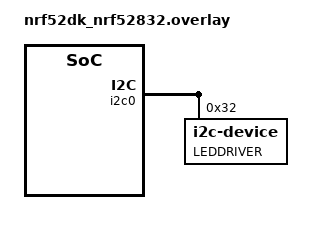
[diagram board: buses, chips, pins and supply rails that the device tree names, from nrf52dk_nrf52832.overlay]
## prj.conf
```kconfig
#
# Copyright (c) 2021 Nordic Semiconductor ASA
#
# SPDX-License-Identifier: LicenseRef-Nordic-5-Clause
#

CONFIG_NCS_SAMPLES_DEFAULTS=y

CONFIG_BT=y
CONFIG_BT_PERIPHERAL=y
CONFIG_BT_CENTRAL=y
CONFIG_BT_DEVICE_NAME="SAHA SAO"
CONFIG_BT_DEVICE_APPEARANCE=832
CONFIG_BT_MAX_CONN=2
CONFIG_BT_MAX_PAIRED=2
CONFIG_BT_EXT_ADV=y # if this is no then the whole thing explodes

#CONFIG_BT_SMP=y # testing

CONFIG_BT_SCAN=y
CONFIG_BT_SCAN_FILTER_ENABLE=y
CONFIG_BT_SCAN_UUID_CNT=1

#CONFIG_BT_GATT_CLIENT=y # testing
#CONFIG_BT_GATT_DM=y # testing

#CONFIG_BT_HRS=y # testing
#CONFIG_BT_HRS_CLIENT=y # testing

CONFIG_BT_SETTINGS=y
CONFIG_FLASH=y
CONFIG_FLASH_PAGE_LAYOUT=y
CONFIG_FLASH_MAP=y
CONFIG_SETTINGS=y

CONFIG_HEAP_MEM_POOL_SIZE=1024

CONFIG_DK_LIBRARY=n # NEW, trying to cut down on size, FAILED dk_leds_init is faulting this
CONFIG_I2C=y
CONFIG_CLOCK_CONTROL_NRF_K32SRC_RC=y # NEW
CONFIG_SERIAL=n # Power consumption reduction, super users can turn this on for printf debugging / comms out the SAO header. Turning this off saves about 1 ma
#CONFIG_LOG=n # Trying more
```

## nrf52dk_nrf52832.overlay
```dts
// To get started, press Ctrl+Space to bring up the completion menu and view the available nodes.

// You can also use the buttons in the sidebar to perform actions on nodes.
// Actions currently available include:

// * Enabling / disabling the node
// * Adding the bus to a bus
// * Removing the node
// * Connecting ADC channels

// For more help, browse the DeviceTree documentation at https://docs.zephyrproject.org/latest/guides/dts/index.html
// You can also visit the nRF DeviceTree extension documentation at https://docs.nordicsemi.com/bundle/nrf-connect-vscode/page/guides/ncs_configure_app.html#devicetree-support-in-the-extension

&i2c0 {
    leddriver: leddrive@32{
        compatible = "i2c-device";
        reg = < 0x32 >;
        label = "LEDDRIVER";
    };
};
```

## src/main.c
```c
/*
 * Copyright (c) 2021 Nordic Semiconductor ASA
 *
 * SPDX-License-Identifier: LicenseRef-Nordic-5-Clause
 */

#include <zephyr/bluetooth/bluetooth.h>
#include <zephyr/bluetooth/conn.h>
#include <zephyr/bluetooth/uuid.h>
//#include <zephyr/bluetooth/gatt.h>
//#include <zephyr/bluetooth/hci.h>
//#include <bluetooth/gatt_dm.h>
#include <bluetooth/scan.h>
#include <zephyr/drivers/i2c.h>

#include <zephyr/bluetooth/services/bas.h>

#include <zephyr/settings/settings.h>

#include <zephyr/kernel.h>
#include <stdlib.h>

#include "led_driver.h"

#define STACKSIZE 1024
#define PRIORITY 7

#define RUN_LED_BLINK_INTERVAL 1000

//pled
#define I2C0_NODE DT_NODELABEL(leddriver)
static const struct i2c_dt_spec dev_i2c = I2C_DT_SPEC_GET(I2C0_NODE);

// TIMER
#define TIME_TO_WAIT_MS 5000UL

#define HRS_QUEUE_SIZE 16

static const struct bt_data ad[] = {
	BT_DATA_BYTES(BT_DATA_GAP_APPEARANCE,
		(CONFIG_BT_DEVICE_APPEARANCE >> 0) & 0xff,
		(CONFIG_BT_DEVICE_APPEARANCE >> 8) & 0xff),
	BT_DATA_BYTES(BT_DATA_FLAGS, (BT_LE_AD_GENERAL | BT_LE_AD_NO_BREDR)),
	BT_DATA_BYTES(BT_DATA_UUID16_ALL,
		      BT_UUID_16_ENCODE(BT_UUID_HRS_VAL)), /* Heart Rate Service */
};

static const struct bt_data sd[] = {
	BT_DATA_BYTES(BT_DATA_NAME_COMPLETE, CONFIG_BT_DEVICE_NAME)
};

static struct bt_conn *central_conn;
static struct k_work adv_work;
static struct k_timer my_timer;

static const uint16_t led_program[] =
{
	0x001E,
	0x0002,
	0x0010,
	0x0004,
	0x0008,
	0x0012,
	0x000C,
	0x9C00,
	0x9C86,
	0x16BE,
	0x7E00,
	0x17BE,
	0x7E00,
	0x9D80,
	0xA002
};

//Should reposition the whole led library here, or move it into its own file.
static void pled_write_byte(uint8_t addr, uint8_t data)
{
	uint8_t config[2] = {addr,data};
	int ret = i2c_write_dt(&dev_i2c, config, sizeof(config));
	if(ret != 0){
		printk("Failed to write to I2C device address %x at reg. %x \n\r", dev_i2c.addr,addr);
	}
}

static int8_t calculate_light_cycle(int8_t rssi) 
{
	int8_t level = rssi;
	level = abs(level) / 6;

	if (level > 13) {
		//return 1;
		return 30;
	}
	if (level < 11) {
		//return 5;
		return 190;
	}

	switch (level) {
		case 13:
			//return 2;
			return 70;
		case 12:
			//return 3;
			return 110;
		case 11:
			//return 4;
			return 150;
	}
	// anywhere from -49 to -90
	// I want -59 and up to be 100%, -80 and below 20%
	return -1;
}

static int scan_start(void)
{
	int err = bt_scan_start(BT_SCAN_TYPE_SCAN_PASSIVE);

	if (err) {
		printk("Scanning failed to start (err %d)\n", err);
	}

	return err;
}

static void adv_work_handler(struct k_work *work)
{
	// If you want to change how often the SAO advertises create a custom BT_LE_ADV_PARAM and insert it here
	int err = bt_le_adv_start(BT_LE_ADV_NCONN_IDENTITY, ad, ARRAY_SIZE(ad), sd, ARRAY_SIZE(sd));

	if (err) {
		printk("Advertising failed to start (err %d)\n", err);
		return;
	}

	printk("Advertising successfully started\n");
}

static void advertising_start(void)
{
	k_work_submit(&adv_work);
}

static void scan_filter_match(struct bt_scan_device_info *device_info,
			      struct bt_scan_filter_match *filter_match,
			      bool connectable)
{
	char addr[BT_ADDR_LE_STR_LEN];

	bt_addr_le_to_str(device_info->recv_info->addr, addr, sizeof(addr));

	printk("Filters matched. Address: %s connectable: %d\n",
		   addr, connectable);
	printk("RSSI is %d\n", device_info->recv_info->rssi);
	printk("Calculated power level is %d\n", calculate_light_cycle(device_info->recv_info->rssi));
	pled_write_byte(REG_D1_PWM,calculate_light_cycle(device_info->recv_info->rssi)); // d1 duty cycle
	k_timer_start(&my_timer, K_MSEC(TIME_TO_WAIT_MS), K_FOREVER);
}

static void scan_connecting_error(struct bt_scan_device_info *device_info)
{
	printk("Connecting failed\n");
}

static void scan_connecting(struct bt_scan_device_info *device_info,
			    struct bt_conn *conn)
{
	central_conn = bt_conn_ref(conn);
}

BT_SCAN_CB_INIT(scan_cb, scan_filter_match, NULL,
		scan_connecting_error, scan_connecting);

static void scan_init(void)
{
	int err;

	struct bt_scan_init_param param = {
		.scan_param = NULL, // If you want to change how often the SAO scans create a custom BT_LE_SCAN_PARAM
		.conn_param = BT_LE_CONN_PARAM_DEFAULT,
		.connect_if_match = 0
	};

	bt_scan_init(&param);
	bt_scan_cb_register(&scan_cb);

	err = bt_scan_filter_add(BT_SCAN_FILTER_TYPE_UUID, BT_UUID_HRS);
	if (err) {
		printk("Scanning filters cannot be set (err %d)\n", err);
	}

	err = bt_scan_filter_enable(BT_SCAN_UUID_FILTER, false);
	if (err) {
		printk("Filters cannot be turned on (err %d)\n", err);
	}
}

static void timer_handler(struct k_timer *dummy)
{
    printk("Timer finished.\n");
	pled_write_byte(REG_D1_PWM,0x00); // d1 duty cycle
}

static uint8_t pled_read_byte(uint8_t addr)
{
	uint8_t val;
	int ret;

	ret = i2c_reg_read_byte_dt(&dev_i2c, addr, &val);
	if (ret != 0) {
		printk("Failed to read i2c register");
	}
	return val;
}

static int pled_load_prgm(const uint16_t* prog, uint8_t len)
{
	// ALMOST ALL THIS CODE IS MODELED AFTER https://github.com/sparkfun/SparkFun_LP55231_Arduino_Library/blob/master/src/lp55231.cpp#L306

	/*
	Every Instruction is 16-bit width.
	The LP55231 can store 96 instructions. Each
	instruction consists of 16 bits. Because one
	register has only 8 bits, one instruction requires
	two register addresses. In order to reduce
	program load time the LP55231 supports address
	auto-incrementation. Register address is
	incremented after each 8 data bits. Thus the
	whole program memory page can be written in
	one serial bus write sequence.

	^ I can optimize these load times if I have time down the road.
	*/

	uint8_t val;
	uint8_t page;

	// max instr 96
	if (len >= 96)
	{
	return -1;
	}

	pled_write_byte(REG_CNTRL2, 0x00); // Disable engines
	pled_write_byte(REG_CNTRL2, 0x15); // Set all engines to load mode

	// Whole pages, my tester is 12 instr so..
	for(page = 0; page < (len/16); page++)
	{
		pled_write_byte(REG_PROG_PAGE_SEL, page);

		for(uint8_t i = 0; i < 16; i++)
		{
			uint8_t config[3] = {REG_PROG_MEM_BASE + (i*2),
								(prog[(i + (page*16))]>> 8) & 0xff,
								prog[i + (page*16)] & 0xff};
			i2c_write_dt(&dev_i2c, config, sizeof(config));
		}
	}

	page = len/16;
	pled_write_byte(REG_PROG_PAGE_SEL, page);
	for(uint8_t i = 0; i < (len%16); i++) 
	{
		uint8_t config[3] = {REG_PROG_MEM_BASE + (i*2),
							(prog[(i + (page*16))]>> 8) & 0xff,
							prog[i + (page*16)] & 0xff};
		i2c_write_dt(&dev_i2c, config, sizeof(config));
	}

	pled_write_byte(REG_CNTRL2, 0x00); // Disable engines
	return 0;
}

static int set_engine_entry(uint8_t engine, uint8_t addr)
{
	// sanity check engine #
	pled_write_byte(REG_PROG1_START + engine, addr);

	return 0;
}

static int set_engine_PC(uint8_t engine, uint8_t addr)
{
	uint8_t control1_val, control2_val, temp;
	
	// Sanity check engine #
	// Sanity check PC #

	control1_val = pled_read_byte(REG_CNTRL1);
	control2_val = pled_read_byte(REG_CNTRL2);

	temp = (control1_val & ~(0x30 >> (engine * 2)));

	pled_write_byte(REG_CNTRL2, 0xff); // halt engines , code might be dumb? TODO
	pled_write_byte(REG_CNTRL1, temp); // engine into load mode

	pled_write_byte(REG_PC1 + engine, addr);

	//restore prev
	pled_write_byte(REG_CNTRL1, control1_val);
	pled_write_byte(REG_CNTRL2, control2_val);

	return 0;
}

static int set_engine_free(uint8_t engine)
{
	uint8_t val;

	//sanity check engine # here

	val = pled_read_byte(REG_CNTRL1);
	val &= ~(0x30 >> (engine * 2));
	val |= (0x20>> (engine * 2));
	pled_write_byte(REG_CNTRL1, val);

	return 0;
}

static int set_engine_running(uint8_t engine)
{
	uint8_t val;

	//sanity check engine # here

	val = pled_read_byte(REG_CNTRL2);
	val &= ~(0x30 >> (engine * 2));
	val |= (0x20>> (engine * 2));
	pled_write_byte(REG_CNTRL2, val);

	return 0;
}

static void pled_init(void)
{	
	uint8_t test;
	
	pled_write_byte(REG_RESET,0xFF); // RESET
	pled_write_byte(REG_CNTRL1,0x40); // Chip enable
	
	pled_write_byte(REG_MISC,0x7b); // was 0x53 for forced to 1.5x, now 0x5B for automatic selection, 0x43 for charge pump off, 7b
	pled_write_byte(REG_D1_CTRL,0x20); // logarithmic dimming for d1
	pled_write_byte(REG_D2_CTRL,0x20); // logarithmic dimming for d2
	pled_write_byte(REG_D3_CTRL,0x20); // logarithmic dimming for d3
	pled_write_byte(REG_D4_CTRL,0x20); // logarithmic dimming for d4
	pled_write_byte(REG_D5_CTRL,0x20); // logarithmic dimming for d5
	pled_write_byte(REG_OUTPUT_ONOFF_LSB,0x1F); // was 0x03, enable d1,d2,d3,d4,d5
	//pled_write_byte(REG_D1_PWM,0x7F); // d1 duty cycle
	//pled_write_byte(REG_D2_PWM,0xbf); // set d2 duty cycle
	//pled_write_byte(REG_D3_PWM,0xbf); // set d3 duty cycle
	//pled_write_byte(REG_D4_PWM,0xbf); // set d4 duty cycle
	//pled_write_byte(REG_D5_PWM,0xbf); // set d5 duty cycle
	

	test = pled_read_byte(REG_MISC);
	printk("REG_MISC = %d\n", test);
	
	
	int ret = pled_load_prgm(led_program, sizeof(led_program));
	if(ret != 0) {
		printk("Failed to upload led driver program");
	}
	
	// Both of these need to point to the first valid instruction in the led driver program
	set_engine_entry(0,7);
  	set_engine_PC(0,7);

	set_engine_free(0);
	set_engine_running(0);
}

int main(void)
{
	int err;

	printk("Starting SAHA SAO V2!\n");

	err = bt_enable(NULL);
	if (err) {
		return 0;
	}

	if (!device_is_ready(dev_i2c.bus)) {
 		printk("I2C bus %s is not ready!\n\r",dev_i2c.bus->name);
 		return 0;
	}
	
	if (IS_ENABLED(CONFIG_SETTINGS)) {
		settings_load();
	}

	settings_load();
	scan_init();

	err = scan_start();
	if (err) {
		return 0;
	}

	printk("Scanning started\n");

	pled_init();

	k_work_init(&adv_work, adv_work_handler);
	advertising_start();

	k_timer_init(&my_timer, timer_handler, NULL);

	for (;;) {
		k_sleep(K_MSEC(RUN_LED_BLINK_INTERVAL)); // Can I put this to sleep forever instead? Will the BLE interrupts awaken it?
	}

	return 0;
}
```

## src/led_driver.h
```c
#include <stdlib.h>

// register stuff
static const uint8_t REG_CNTRL1 = 0x00;
static const uint8_t REG_CNTRL2 = 0x01;
static const uint8_t REG_RATIO_MSB = 0x02;
static const uint8_t REG_RATIO_LSB = 0x03;
static const uint8_t REG_OUTPUT_ONOFF_MSB = 0x04;
static const uint8_t REG_OUTPUT_ONOFF_LSB = 0x05;

// Per LED control channels - fader channel assig, log dimming enable, temperature compensation
static const uint8_t REG_D1_CTRL = 0x06;
static const uint8_t REG_D2_CTRL = 0x07;
static const uint8_t REG_D3_CTRL = 0x08;
static const uint8_t REG_D4_CTRL = 0x09;
static const uint8_t REG_D5_CTRL = 0x0a;
static const uint8_t REG_D6_CTRL = 0x0b;
static const uint8_t REG_D7_CTRL = 0x0c;
static const uint8_t REG_D8_CTRL = 0x0d;
static const uint8_t REG_D9_CTRL = 0x0e;

// 0x0f to 0x15 reserved

// Direct PWM control registers
static const uint8_t REG_D1_PWM  = 0x16;
static const uint8_t REG_D2_PWM  = 0x17;
static const uint8_t REG_D3_PWM  = 0x18;
static const uint8_t REG_D4_PWM  = 0x19;
static const uint8_t REG_D5_PWM  = 0x1a;
static const uint8_t REG_D6_PWM  = 0x1b;
static const uint8_t REG_D7_PWM  = 0x1c;
static const uint8_t REG_D8_PWM  = 0x1d;
static const uint8_t REG_D9_PWM  = 0x1e;

// 0x1f to 0x25 reserved

// Drive current registers
static const uint8_t REG_D1_I_CTL = 0x26;
static const uint8_t REG_D2_I_CTL  = 0x27;
static const uint8_t REG_D3_I_CTL  = 0x28;
static const uint8_t REG_D4_I_CTL  = 0x29;
static const uint8_t REG_D5_I_CTL  = 0x2a;
static const uint8_t REG_D6_I_CTL  = 0x2b;
static const uint8_t REG_D7_I_CTL  = 0x2c;
static const uint8_t REG_D8_I_CTL  = 0x2d;
static const uint8_t REG_D9_I_CTL  = 0x2e;

// 0x2f to 0x35 reserved

static const uint8_t REG_MISC     = 0x36;
static const uint8_t REG_PC1      = 0x37;
static const uint8_t REG_PC2      = 0x38;
static const uint8_t REG_PC3      = 0x39;
static const uint8_t REG_STATUS_IRQ = 0x3A;
static const uint8_t REG_INT_GPIO   = 0x3B;
static const uint8_t REG_GLOBAL_VAR = 0x3C;
static const uint8_t REG_RESET      = 0x3D;
static const uint8_t REG_TEMP_CTL   = 0x3E;
static const uint8_t REG_TEMP_READ  = 0x3F;
static const uint8_t REG_TEMP_WRITE = 0x40;
static const uint8_t REG_TEST_CTL   = 0x41;
static const uint8_t REG_TEST_ADC   = 0x42;

// 0x43 to 0x44 reserved

static const uint8_t REG_ENGINE_A_VAR = 0x45;
static const uint8_t REG_ENGINE_B_VAR = 0x46;
static const uint8_t REG_ENGINE_C_VAR = 0x47;

static const uint8_t REG_MASTER_FADE_1 = 0x48;
static const uint8_t REG_MASTER_FADE_2 = 0x49;
static const uint8_t REG_MASTER_FADE_3 = 0x4A;

// 0x4b Reserved

static const uint8_t REG_PROG1_START = 0x4C;
static const uint8_t REG_PROG2_START = 0x4D;
static const uint8_t REG_PROG3_START = 0x4E;
static const uint8_t REG_PROG_PAGE_SEL = 0x4f;

// Memory is more confusing - there are 6 pages, sel by addr 4f
static const uint8_t REG_PROG_MEM_BASE = 0x50;
//static const uint8_t REG_PROG_MEM_SIZE = 0x;//
static const uint8_t REG_PROG_MEM_END  = 0x6f;

static const uint8_t REG_ENG1_MAP_MSB = 0x70;
static const uint8_t REG_ENG1_MAP_LSB = 0x71;
static const uint8_t REG_ENG2_MAP_MSB = 0x72;
static const uint8_t REG_ENG2_MAP_LSB = 0x73;
static const uint8_t REG_ENG3_MAP_MSB = 0x74;
static const uint8_t REG_ENG3_MAP_LSB = 0x75;

static const uint8_t REG_GAIN_CHANGE = 0x76;
```
